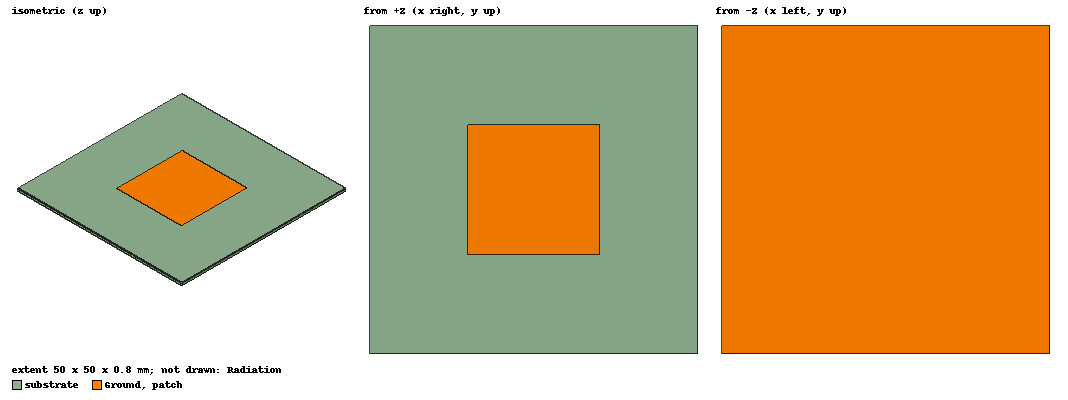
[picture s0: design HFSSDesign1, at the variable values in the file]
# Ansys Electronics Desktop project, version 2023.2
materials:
  vacuum: permittivity=1
  FR4_epoxy: permittivity=4.4 dielectric_loss_tangent=0.02
  copper: permeability=0.999991 conductivity=58000000

design HFSSDesign1 (HFSS, HFSS Terminal Network, model units mm)
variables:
  sub = 50mm
  h = 0.8mm
  lp = 20mm
  wp = 19.7276mm
  ant = 7.5mm
  a = 1mm
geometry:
  substrate [FR4_epoxy] = box(corner=(-sub/2, -sub/2, 0mm), size=(sub, sub, -h))
  Ground = rectangle(corner=(-sub/2, -sub/2, -h), x_size=sub, y_size=sub)
  patch = rectangle(corner=(-lp/2, -wp/2, 0mm), x_size=lp, y_size=wp)
  shortpin [copper] = cylinder(axis=Z, base_centre=(-ant, 0, 0mm), radius=0.6mm, height=-h)
  source_1 = rectangle(corner=(-lp/2, -wp/2, 0), z_size=-h, x_size=a)
  Radiation [vacuum] = box(corner=(-25mm, 25mm, 0mm), size=(50mm, -50mm, 20mm))
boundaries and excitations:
  PerfE1: Perfect E Objects=Ground
  PerfE2: Perfect E Objects=patch
  PerfE3: Perfect E Objects=shortpin
  Rad1: Radiation Faces=Radiation.face(+z, -y, -x, +y, +x)
  patch_T1: Terminal port=1 Edges=patch.edge(at (0, -9.8638, 0)) TerminalResistance=50ohm
  1: Lumped Port Faces=source_1.face LumpedPortType=Terminal Impedance=50ohm
  reference conductors: Ground
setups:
  Setup1: HfssDrivenAuto AutoSolverSetting=Balanced SaveAnyFields=false Type=Interpolating
    sweep Sweep: 0GHz to 1GHz, 501 points;
  Setup2: HfssDrivenAuto AutoSolverSetting=Balanced SaveAnyFields=false Type=Interpolating
    sweep Sweep: 0GHz to 10GHz, 501 points;
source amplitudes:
  1:1: 1V 0deg
